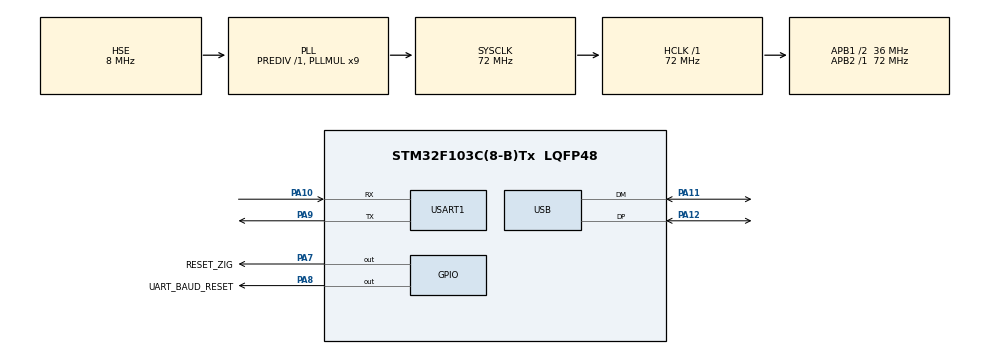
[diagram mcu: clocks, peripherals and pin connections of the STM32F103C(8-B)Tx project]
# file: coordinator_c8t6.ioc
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Dma.Request0=USART1_RX
Dma.Request1=USART1_TX
Dma.USART1_RX.0.Direction=DMA_PERIPH_TO_MEMORY
Dma.USART1_RX.0.Instance=DMA1_Channel5
Dma.USART1_RX.0.MemDataAlignment=DMA_MDATAALIGN_BYTE
Dma.USART1_RX.0.MemInc=DMA_MINC_ENABLE
Dma.USART1_RX.0.Mode=DMA_NORMAL
Dma.USART1_RX.0.PeriphDataAlignment=DMA_PDATAALIGN_BYTE
Dma.USART1_RX.0.PeriphInc=DMA_PINC_DISABLE
Dma.USART1_RX.0.Priority=DMA_PRIORITY_LOW
Dma.USART1_TX.1.Direction=DMA_MEMORY_TO_PERIPH
Dma.USART1_TX.1.Instance=DMA1_Channel4
Dma.USART1_TX.1.MemDataAlignment=DMA_MDATAALIGN_BYTE
Dma.USART1_TX.1.MemInc=DMA_MINC_ENABLE
Dma.USART1_TX.1.Mode=DMA_NORMAL
Dma.USART1_TX.1.PeriphDataAlignment=DMA_PDATAALIGN_BYTE
Dma.USART1_TX.1.PeriphInc=DMA_PINC_DISABLE
Dma.USART1_TX.1.Priority=DMA_PRIORITY_LOW
Mcu.Family=STM32F1
Mcu.Name=STM32F103C(8-B)Tx
Mcu.Package=LQFP48
NVIC.DMA1_Channel4_IRQn=true\:0\:0\:false\:false\:true\:false\:true\:true
NVIC.DMA1_Channel5_IRQn=true\:0\:0\:false\:false\:true\:false\:true\:true
NVIC.PriorityGroup=NVIC_PRIORITYGROUP_4
NVIC.USART1_IRQn=true\:0\:0\:false\:false\:true\:true\:true\:true
NVIC.USB_LP_CAN1_RX0_IRQn=true\:0\:0\:false\:false\:true\:false\:true\:true
PA10.Mode=Asynchronous
PA10.Signal=USART1_RX
PA11.Mode=Device
PA11.Signal=USB_DM
PA12.Mode=Device
PA12.Signal=USB_DP
PA13.Mode=Serial_Wire
PA13.Signal=SYS_JTMS-SWDIO
PA14.Mode=Serial_Wire
PA14.Signal=SYS_JTCK-SWCLK
PA7.GPIO_Label=RESET_ZIG
PA7.Signal=GPIO_Output
PA8.GPIO_Label=UART_BAUD_RESET
PA8.Signal=GPIO_Output
PA9.Mode=Asynchronous
PA9.Signal=USART1_TX
PC14-OSC32_IN.Mode=LSE-External-Oscillator
PC14-OSC32_IN.Signal=RCC_OSC32_IN
PC15-OSC32_OUT.Mode=LSE-External-Oscillator
PC15-OSC32_OUT.Signal=RCC_OSC32_OUT
PD0-OSC_IN.Mode=HSE-External-Oscillator
PD0-OSC_IN.Signal=RCC_OSC_IN
PD1-OSC_OUT.Mode=HSE-External-Oscillator
PD1-OSC_OUT.Signal=RCC_OSC_OUT
ProjectManager.HeapSize=0x200
ProjectManager.StackSize=0x400
ProjectManager.TargetToolchain=STM32CubeIDE
RCC.AHBFreq_Value=72000000
RCC.APB1CLKDivider=RCC_HCLK_DIV2
RCC.APB1Freq_Value=36000000
RCC.APB1TimFreq_Value=72000000
RCC.APB2Freq_Value=72000000
RCC.APB2TimFreq_Value=72000000
RCC.HCLKFreq_Value=72000000
RCC.PLLMUL=RCC_PLL_MUL9
RCC.SYSCLKFreq_VALUE=72000000
RCC.SYSCLKSource=RCC_SYSCLKSOURCE_PLLCLK
RCC.USBFreq_Value=48000000
RCC.USBPrescaler=RCC_USBCLKSOURCE_PLL_DIV1_5
USART1.VirtualMode=VM_ASYNC
USB_DEVICE.APP_RX_DATA_SIZE=256
USB_DEVICE.APP_TX_DATA_SIZE=256
USB_DEVICE.CLASS_NAME_FS=CDC
USB_DEVICE.VirtualMode=Cdc
USB_DEVICE.VirtualModeFS=Cdc_FS
VP_USB_DEVICE_VS_USB_DEVICE_CDC_FS.Mode=CDC_FS
board=custom

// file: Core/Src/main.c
/* USER CODE BEGIN Header */
/**
 ******************************************************************************
 * @file           : main.c
 * @brief          : Main program body
 ******************************************************************************
 * @attention
 *
 * Copyright (c) 2024 STMicroelectronics.
 * All rights reserved.
 *
 * This software is licensed under terms that can be found in the LICENSE file
 * in the root directory of this software component.
 * If no LICENSE file comes with this software, it is provided AS-IS.
 *
 ******************************************************************************
 */
/* USER CODE END Header */
#include "main.h"
#include "usb_device.h"

/* USER CODE BEGIN Includes */
#include "zigbee/zigbee.h"
#include "uart_driver/uart_driver.h"
#include "usbd_cdc_if.h"
/* USER CODE END Includes */

UART_HandleTypeDef huart1;
DMA_HandleTypeDef hdma_usart1_rx;
DMA_HandleTypeDef hdma_usart1_tx;

/* USER CODE BEGIN PV */
uart_handle_t zigbee_usart;
extern zigbee_driver_t zigbee_driver;

bool flag_received_data = false;
/* USER CODE END PV */

void SystemClock_Config(void);
static void MX_GPIO_Init(void);
static void MX_DMA_Init(void);
static void MX_USART1_UART_Init(void);

/* USER CODE BEGIN 0 */
void HAL_UARTEx_RxEventCallback(UART_HandleTypeDef *huart, uint16_t size)
{
    uart_rx_callback(huart, size);
}

void HAL_UART_RxCpltCallback(UART_HandleTypeDef *huart)
{
    uart_rx_callback(huart, 0);
}
/* USER CODE END 0 */

int main(void)
{

    /* MCU Configuration--------------------------------------------------------*/

    /* Reset of all peripherals, Initializes the Flash interface and the Systick. */
    HAL_Init();

    /* Configure the system clock */
    SystemClock_Config();

    /* Initialize all configured peripherals */
    MX_GPIO_Init();
    MX_DMA_Init();
    MX_USART1_UART_Init();
    MX_USB_DEVICE_Init();

    /* USER CODE BEGIN 2 */
    init_uart(&zigbee_usart, &huart1);
    zigbee_usart.use_dma = true;

    start_rx(&zigbee_usart);
    init_zigbee(&zigbee_driver, coordinator);
    zigbee_baud_on();
    zigbee_on();
    HAL_Delay(5000);
    uart_packet_t temp_packet;

    char str_usb[20];
    sprintf(str_usb, "Starting coordinator\r\n");
    CDC_Transmit_FS((unsigned char *)str_usb, strlen(str_usb));
    HAL_Delay(200);
    zigbee_setting_coordinator(&zigbee_driver);

    /* USER CODE END 2 */

    /* Infinite loop */
    /* USER CODE BEGIN WHILE */
    while (1) {
        usart_timers_handle();
        zigbee_uart_process(&zigbee_driver, &zigbee_usart);
        zigbee_process(&zigbee_driver);
        if (zigbee_driver.received_data_size == 18) {
        	uint16_t short_addr;
        	float ax;
        	float ay;
        	float az;
        	float temp;

        	memcpy((uint8_t *)&short_addr, &zigbee_driver.received_data[0], 2);
        	memcpy((uint8_t *)&ax, &zigbee_driver.received_data[2], 4);
        	memcpy((uint8_t *)&ay, &zigbee_driver.received_data[6], 4);
        	memcpy((uint8_t *)&az, &zigbee_driver.received_data[10], 4);
        	memcpy((uint8_t *)&temp, &zigbee_driver.received_data[14], 4);

        	char str[100];
        	sprintf(str, "ID - %02x %02x, ax - %.02f, ay - %.02f, az - %.02f, temperature - %.02f\r\n",
        			short_addr >> 8, short_addr & 0xFF , ax, ay, ay, temp);
        	zigbee_driver.received_data_size = 0;
        	CDC_Transmit_FS((unsigned char *)str, strlen(str));
        }
        /* USER CODE END WHILE */

    }
}

void SystemClock_Config(void)
{
    RCC_OscInitTypeDef RCC_OscInitStruct   = {0};
    RCC_ClkInitTypeDef RCC_ClkInitStruct   = {0};
    RCC_PeriphCLKInitTypeDef PeriphClkInit = {0};

    /** Initializes the RCC Oscillators according to the specified parameters
     * in the RCC_OscInitTypeDef structure.
     */
    RCC_OscInitStruct.OscillatorType = RCC_OSCILLATORTYPE_HSE;
    RCC_OscInitStruct.HSEState       = RCC_HSE_ON;
    RCC_OscInitStruct.HSEPredivValue = RCC_HSE_PREDIV_DIV1;
    RCC_OscInitStruct.HSIState       = RCC_HSI_ON;
    RCC_OscInitStruct.PLL.PLLState   = RCC_PLL_ON;
    RCC_OscInitStruct.PLL.PLLSource  = RCC_PLLSOURCE_HSE;
    RCC_OscInitStruct.PLL.PLLMUL     = RCC_PLL_MUL9;
    if (HAL_RCC_OscConfig(&RCC_OscInitStruct) != HAL_OK) {
        Error_Handler();
    }

    /** Initializes the CPU, AHB and APB buses clocks
     */
    RCC_ClkInitStruct.ClockType = RCC_CLOCKTYPE_HCLK | RCC_CLOCKTYPE_SYSCLK | RCC_CLOCKTYPE_PCLK1 | RCC_CLOCKTYPE_PCLK2;
    RCC_ClkInitStruct.SYSCLKSource   = RCC_SYSCLKSOURCE_PLLCLK;
    RCC_ClkInitStruct.AHBCLKDivider  = RCC_SYSCLK_DIV1;
    RCC_ClkInitStruct.APB1CLKDivider = RCC_HCLK_DIV2;
    RCC_ClkInitStruct.APB2CLKDivider = RCC_HCLK_DIV1;

    if (HAL_RCC_ClockConfig(&RCC_ClkInitStruct, FLASH_LATENCY_2) != HAL_OK) {
        Error_Handler();
    }
    PeriphClkInit.PeriphClockSelection = RCC_PERIPHCLK_USB;
    PeriphClkInit.UsbClockSelection    = RCC_USBCLKSOURCE_PLL_DIV1_5;
    if (HAL_RCCEx_PeriphCLKConfig(&PeriphClkInit) != HAL_OK) {
        Error_Handler();
    }
}

static void MX_USART1_UART_Init(void)
{

    huart1.Instance          = USART1;
    huart1.Init.BaudRate     = 115200;
    huart1.Init.WordLength   = UART_WORDLENGTH_8B;
    huart1.Init.StopBits     = UART_STOPBITS_1;
    huart1.Init.Parity       = UART_PARITY_NONE;
    huart1.Init.Mode         = UART_MODE_TX_RX;
    huart1.Init.HwFlowCtl    = UART_HWCONTROL_NONE;
    huart1.Init.OverSampling = UART_OVERSAMPLING_16;
    if (HAL_UART_Init(&huart1) != HAL_OK) {
        Error_Handler();
    }
}

static void MX_DMA_Init(void)
{
    /* DMA controller clock enable */
    __HAL_RCC_DMA1_CLK_ENABLE();

    /* DMA interrupt init */
    /* DMA1_Channel4_IRQn interrupt configuration */
    HAL_NVIC_SetPriority(DMA1_Channel4_IRQn, 0, 0);
    HAL_NVIC_EnableIRQ(DMA1_Channel4_IRQn);
    /* DMA1_Channel5_IRQn interrupt configuration */
    HAL_NVIC_SetPriority(DMA1_Channel5_IRQn, 0, 0);
    HAL_NVIC_EnableIRQ(DMA1_Channel5_IRQn);
}

static void MX_GPIO_Init(void)
{
    GPIO_InitTypeDef GPIO_InitStruct = {0};

    /* GPIO Ports Clock Enable */
    __HAL_RCC_GPIOC_CLK_ENABLE();
    __HAL_RCC_GPIOD_CLK_ENABLE();
    __HAL_RCC_GPIOA_CLK_ENABLE();

    /*Configure GPIO pin Output Level */
    HAL_GPIO_WritePin(GPIOA, RESET_ZIG_Pin | UART_BAUD_RESET_Pin, GPIO_PIN_RESET);

    /*Configure GPIO pins : RESET_ZIG_Pin UART_BAUD_RESET_Pin */
    GPIO_InitStruct.Pin   = RESET_ZIG_Pin | UART_BAUD_RESET_Pin | GPIO_PIN_12;
    GPIO_InitStruct.Mode  = GPIO_MODE_OUTPUT_PP;
    GPIO_InitStruct.Pull  = GPIO_NOPULL;
    GPIO_InitStruct.Speed = GPIO_SPEED_FREQ_LOW;
    HAL_GPIO_Init(GPIOA, &GPIO_InitStruct);

    /* USER CODE BEGIN MX_GPIO_Init_2 */
    // Жесткий костыль, чтобы usb драйвер работал после RESET
    HAL_GPIO_WritePin(GPIOA, GPIO_PIN_12, GPIO_PIN_RESET);
    HAL_Delay(20);
    HAL_GPIO_WritePin(GPIOA, GPIO_PIN_12, GPIO_PIN_SET);
    HAL_GPIO_DeInit(GPIOA, GPIO_PIN_12);
    /* USER CODE END MX_GPIO_Init_2 */
}

void Error_Handler(void)
{
    __disable_irq();
    while (1) {}
}
